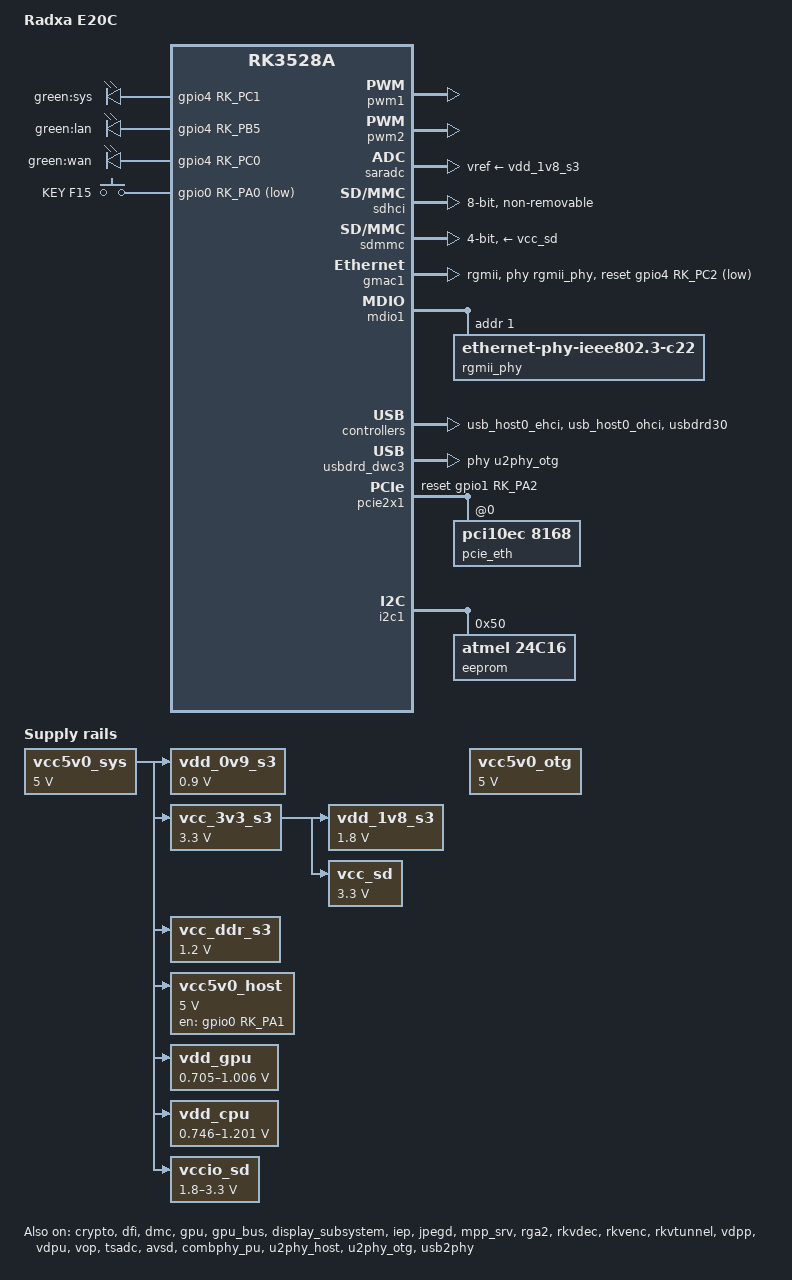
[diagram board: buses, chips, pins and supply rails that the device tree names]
// SPDX-License-Identifier: (GPL-2.0+ OR MIT)
/*
 * Copyright (c) 2022 Rockchip Electronics Co., Ltd.
 * Copyright (c) 2024 Radxa Limited
 *
 */

/dts-v1/;

#include <dt-bindings/gpio/gpio.h>
#include <dt-bindings/input/rk-input.h>
#include <dt-bindings/pinctrl/rockchip.h>
#include "rk3528.dtsi"
#include "rk3528-linux.dtsi"

/ {
	model = "Radxa E20C";
	compatible = "radxa,e20c", "rockchip,rk3528a";

	aliases {
		/delete-property/ ethernet1;
		mmc0 = <&sdmmc>;
		mmc1 = <&sdhci>;
		mmc2 = <&sdio0>;
		ethernet0 = <&gmac1>;
	};

	/delete-node/ chosen;

	gpio_leds: gpio-leds {
		compatible = "gpio-leds";

		led_green_sys: led-green-sys {
			gpios = <&gpio4 RK_PC1 GPIO_ACTIVE_HIGH>;
			label = "green:sys";
			linux,default-trigger = "heartbeat";
			pinctrl-0 = <&led_green_sys_en>;
			pinctrl-names = "default";
		};

		led_green_lan: led-green-lan {
			gpios = <&gpio4 RK_PB5 GPIO_ACTIVE_HIGH>;
			label = "green:lan";
			pinctrl-0 = <&led_green_lan_en>;
			pinctrl-names = "default";
		};

		led_green_wan: led-green-wan {
			gpios = <&gpio4 RK_PC0 GPIO_ACTIVE_HIGH>;
			label = "green:wan";
			pinctrl-0 = <&led_green_wan_en>;
			pinctrl-names = "default";
		};
	};

	vcc5v0_sys: vcc5v0-sys {
		compatible = "regulator-fixed";
		regulator-name = "vcc5v0_sys";
		regulator-always-on;
		regulator-boot-on;
		regulator-min-microvolt = <5000000>;
		regulator-max-microvolt = <5000000>;
	};

	vdd_0v9_s3: vdd-0v9-s3 {
		compatible = "regulator-fixed";
		regulator-name = "vdd_0v9_s3";
		regulator-always-on;
		regulator-boot-on;
		regulator-min-microvolt = <900000>;
		regulator-max-microvolt = <900000>;
		vin-supply = <&vcc5v0_sys>;
	};

	vcc_3v3_s3: vcc-3v3-s3 {
		compatible = "regulator-fixed";
		regulator-name = "vcc_3v3_s3";
		regulator-always-on;
		regulator-boot-on;
		regulator-min-microvolt = <3300000>;
		regulator-max-microvolt = <3300000>;
		vin-supply = <&vcc5v0_sys>;
	};

	vdd_1v8_s3: vdd-1v8-s3 {
		compatible = "regulator-fixed";
		regulator-name = "vdd_1v8_s3";
		regulator-always-on;
		regulator-boot-on;
		regulator-min-microvolt = <1800000>;
		regulator-max-microvolt = <1800000>;
		vin-supply = <&vcc_3v3_s3>;
	};

	vcc_ddr_s3: vcc-ddr-s3 {
		compatible = "regulator-fixed";
		regulator-name = "vcc_ddr_s3";
		regulator-always-on;
		regulator-boot-on;
		regulator-min-microvolt = <1200000>;
		regulator-max-microvolt = <1200000>;
		vin-supply = <&vcc5v0_sys>;
	};

	vcc5v0_host: vcc5v0-host-regulator {
		compatible = "regulator-fixed";
		regulator-name = "vcc5v0_host";
		regulator-boot-on;
		regulator-always-on;
		regulator-min-microvolt = <5000000>;
		regulator-max-microvolt = <5000000>;
		enable-active-high;
		gpio = <&gpio0 RK_PA1 GPIO_ACTIVE_HIGH>;
		vin-supply = <&vcc5v0_sys>;
		pinctrl-names = "default";
		pinctrl-0 = <&vcc5v0_host_en>;
	};

	vcc5v0_otg: vcc5v0-otg-regulator {
		compatible = "regulator-fixed";
		regulator-name = "vcc5v0_otg";
		regulator-min-microvolt = <5000000>;
		regulator-max-microvolt = <5000000>;
	};

	vdd_gpu: vdd_logic: vdd-logic {
		compatible = "pwm-regulator";
		pwms = <&pwm2 0 5000 1>;
		regulator-name = "vdd_logic";
		regulator-min-microvolt = <705000>;
		regulator-max-microvolt = <1006000>;
		regulator-init-microvolt = <900000>;
		regulator-always-on;
		regulator-boot-on;
		regulator-settling-time-up-us = <250>;
		regulator-enable-ramp-delay = <400>;
		regulator-ramp-delay = <12500>;
		pwm-supply = <&vcc5v0_sys>;
		status = "okay";
	};

	vdd_cpu: vdd-cpu {
		compatible = "pwm-regulator";
		pwms = <&pwm1 0 5000 1>;
		regulator-name = "vdd_cpu";
		regulator-min-microvolt = <746000>;
		regulator-max-microvolt = <1201000>;
		regulator-init-microvolt = <953000>;
		regulator-always-on;
		regulator-boot-on;
		regulator-settling-time-up-us = <250>;
		regulator-enable-ramp-delay = <400>;
		regulator-ramp-delay = <12500>;
		pwm-supply = <&vcc5v0_sys>;
		status = "okay";
	};

	vccio_sd: vccio-sd {
		compatible = "regulator-gpio";
		regulator-name = "vccio_sd";
		regulator-min-microvolt = <1800000>;
		regulator-max-microvolt = <3300000>;
		gpios = <&gpio4 RK_PB6 GPIO_ACTIVE_HIGH>;
		vin-supply = <&vcc5v0_sys>;
		states = <1800000 0x0
			  3300000 0x1>;
	};

	vcc_sd: vcc-sd {
		compatible = "regulator-fixed";
		//gpio = <&gpio4 RK_PA1 GPIO_ACTIVE_LOW>;
		regulator-name = "vcc_sd";
		regulator-min-microvolt = <3300000>;
		regulator-max-microvolt = <3300000>;
		vin-supply = <&vcc_3v3_s3>;
	};

	gpio-keys {
		compatible = "gpio-keys";
		pinctrl-names = "default";
		pinctrl-0 = <&user_key>;
		autorepeat;

		user-key {
			label = "KEY F15";
			linux,code = <KEY_F15>;
			gpios = <&gpio0 RK_PA0 GPIO_ACTIVE_LOW>;
			debounce-interval = <100>;
		};
	};
};

&pwm1 {
	status = "okay";
};

&pwm2 {
	status = "okay";
};

&cpu0 {
	cpu-supply = <&vdd_cpu>;
};

&cpu0_opp_table {
	opp-408000000 {
		opp-microvolt-L0 = <905000 905000 1200000>;
		opp-microvolt-L1 = <895000 895000 1200000>;
		opp-microvolt-L2 = <885000 885000 1200000>;
		opp-microvolt-L3 = <875000 875000 1200000>;
		opp-microvolt-L4 = <865000 865000 1200000>;
		opp-microvolt-L5 = <855000 855000 1200000>;
		opp-microvolt = <850000 850000 1200000>;
		status = "disabled";
	};

	opp-600000000 {
		opp-microvolt-L0 = <905000 905000 1200000>;
		opp-microvolt-L1 = <895000 895000 1200000>;
		opp-microvolt-L2 = <885000 885000 1200000>;
		opp-microvolt-L3 = <875000 875000 1200000>;
		opp-microvolt-L4 = <865000 865000 1200000>;
		opp-microvolt-L5 = <855000 855000 1200000>;
		opp-microvolt = <850000 850000 1200000>;
		status = "disabled";
	};

	opp-816000000 {
		opp-microvolt-L0 = <905000 905000 1200000>;
		opp-microvolt-L1 = <895000 895000 1200000>;
		opp-microvolt-L2 = <885000 885000 1200000>;
		opp-microvolt-L3 = <875000 875000 1200000>;
		opp-microvolt-L4 = <865000 865000 1200000>;
		opp-microvolt-L5 = <855000 855000 1200000>;
		opp-microvolt = <850000 850000 1200000>;
		status = "disabled";
	};

	opp-1008000000 {
		opp-microvolt-L0 = <905000 905000 1200000>;
		opp-microvolt-L1 = <895000 895000 1200000>;
		opp-microvolt-L2 = <885000 885000 1200000>;
		opp-microvolt-L3 = <875000 875000 1200000>;
		opp-microvolt-L4 = <865000 865000 1200000>;
		opp-microvolt-L5 = <855000 855000 1200000>;
		opp-microvolt = <850000 850000 1200000>;
	};

	opp-1200000000 {
		opp-microvolt-L0 = <935000 935000 1200000>;
		opp-microvolt-L1 = <922500 922500 1200000>;
		opp-microvolt-L2 = <910000 910000 1200000>;
		opp-microvolt-L3 = <897500 897500 1200000>;
		opp-microvolt-L4 = <885000 885000 1200000>;
		opp-microvolt-L5 = <872500 872500 1200000>;
		opp-microvolt-L6 = <860000 860000 1200000>;
		opp-microvolt = <850000 850000 1200000>;
	};

	opp-1416000000 {
		opp-microvolt-L0 = <1002500 1002500 1200000>;
		opp-microvolt-L1 = <990000 990000 1200000>;
		opp-microvolt-L2 = <977500 977500 1200000>;
		opp-microvolt-L3 = <965000 965000 1200000>;
		opp-microvolt-L4 = <952500 952500 1200000>;
		opp-microvolt-L5 = <940000 940000 1200000>;
		opp-microvolt-L6 = <927500 927500 1200000>;
		opp-microvolt-L7 = <915000 915000 1200000>;
		opp-microvolt-L8 = <902500 902500 1200000>;
		opp-microvolt-L9 = <890000 890000 1200000>;
		opp-microvolt-L10 = <877500 877500 1200000>;
		opp-microvolt-L11 = <865000 865000 1200000>;
		opp-microvolt = <865000 865000 1200000>;
	};

	opp-1608000000 {
		opp-microvolt-L0 = <1072500 1072500 1200000>;
		opp-microvolt-L1 = <1060000 1060000 1200000>;
		opp-microvolt-L2 = <1047500 1047500 1200000>;
		opp-microvolt-L3 = <1035000 1035000 1200000>;
		opp-microvolt-L4 = <1022500 1022500 1200000>;
		opp-microvolt-L5 = <1010000 1010000 1200000>;
		opp-microvolt-L6 = <997500 997500 1200000>;
		opp-microvolt-L7 = <985000 985000 1200000>;
		opp-microvolt-L8 = <972500 972500 1200000>;
		opp-microvolt-L9 = <960000 960000 1200000>;
		opp-microvolt-L10 = <947500 947500 1200000>;
		opp-microvolt-L11 = <935000 935000 1200000>;
		opp-microvolt = <935000 935000 1200000>;
	};

	opp-1800000000 {
		opp-microvolt-L0 = <1142500 1142500 1200000>;
		opp-microvolt-L1 = <1130000 1130000 1200000>;
		opp-microvolt-L2 = <1117500 1117500 1200000>;
		opp-microvolt-L3 = <1105000 1105000 1200000>;
		opp-microvolt-L4 = <1092500 1092500 1200000>;
		opp-microvolt-L5 = <1080000 1080000 1200000>;
		opp-microvolt-L6 = <1067500 1067500 1200000>;
		opp-microvolt-L7 = <1055000 1055000 1200000>;
		opp-microvolt-L8 = <1042500 1042500 1200000>;
		opp-microvolt-L9 = <1030000 1030000 1200000>;
		opp-microvolt-L10 = <1017500 1017500 1200000>;
		opp-microvolt-L11 = <1005000 1005000 1200000>;
		opp-microvolt = <1005000 1005000 1200000>;
	};

	opp-2016000000 {
		opp-microvolt-L0 = <1200000 1200000 1200000>;
		opp-microvolt-L1 = <1190000 1190000 1200000>;
		opp-microvolt-L2 = <1180000 1180000 1200000>;
		opp-microvolt-L3 = <1170000 1170000 1200000>;
		opp-microvolt-L4 = <1160000 1160000 1200000>;
		opp-microvolt-L5 = <1150000 1150000 1200000>;
		opp-microvolt-L6 = <1140000 1140000 1200000>;
		opp-microvolt-L7 = <1130000 1130000 1200000>;
		opp-microvolt-L8 = <1120000 1120000 1200000>;
		opp-microvolt-L9 = <1110000 1110000 1200000>;
		opp-microvolt-L10 = <1100000 1100000 1200000>;
		opp-microvolt-L11 = <1090000 1090000 1200000>;
		opp-microvolt = <1090000 1090000 1200000>;
	};
};

&crypto {
	status = "okay";
};

&dfi {
	status = "okay";
};

&dmc {
	center-supply = <&vdd_logic>;
	status = "okay";
};

&gpu {
	mali-supply = <&vdd_gpu>;
	status = "okay";
};

&gpu_bus {
	bus-supply = <&vdd_logic>;
	status = "okay";
};

&display_subsystem {
	status = "okay";
};

&iep {
	status = "okay";
};

&iep_mmu {
	status = "okay";
};

&jpegd {
	status = "okay";
};

&jpegd_mmu {
	status = "okay";
};

&mpp_srv {
	status = "okay";
};

&rga2 {
	status = "okay";
};

&rga2_mmu {
	status = "okay";
};

&rkvdec {
	status = "okay";
};

&rkvdec_mmu {
	status = "okay";
};

&rkvenc {
	status = "okay";
};

&rkvenc_mmu {
	status = "okay";
};

&rkvtunnel {
	status = "okay";
};

&rockchip_suspend {
	status = "okay";
	rockchip,sleep-debug-en = <1>;
	rockchip,virtual-poweroff = <1>;
	rockchip,sleep-mode-config = <
		(0
		| RKPM_SLP_ARMPD
		)
	>;
	rockchip,wakeup-config = <
		(0
		| RKPM_CPU0_WKUP_EN
		| RKPM_GPIO_WKUP_EN
		)
	>;
	rockchip,pwm-regulator-config = <
		(0
		| RKPM_PWM0_M0_REGULATOR_EN
		| RKPM_PWM1_M0_REGULATOR_EN
		)
	>;
};

&vdpp {
	status = "okay";
};

&vdpu {
	status = "okay";
};

&vdpu_mmu {
	status = "okay";
};

&vop {
	status = "okay";
};

&vop_mmu {
	status = "okay";
};

&tsadc {
	status = "okay";
};

&saradc {
	status = "okay";
	vref-supply = <&vdd_1v8_s3>;
};

&avsd {
	status = "okay";
};

&sdhci {
	bus-width = <8>;
	no-sd;
	no-sdio;
	non-removable;
	mmc-hs400-1_8v;
	mmc-hs400-enhanced-strobe;
	max-frequency = <200000000>;
	status = "okay";
};

&sdmmc {
	bus-width = <4>;
	cap-mmc-highspeed;
	cap-sd-highspeed;
	disable-wp;
	max-frequency = <150000000>;
	pinctrl-names = "default";
	pinctrl-0 = <&sdmmc_clk &sdmmc_cmd &sdmmc_det &sdmmc_bus4>;
	rockchip,default-sample-phase = <90>;
	supports-sd;
	sd-uhs-sdr12;
	sd-uhs-sdr25;
	sd-uhs-sdr50;
	sd-uhs-sdr104;
	vqmmc-supply = <&vccio_sd>;
	vmmc-supply = <&vcc_sd>;
	status = "okay";
};

&gmac1 {
	phy-mode = "rgmii";
	clock_in_out = "output";

	snps,reset-gpio = <&gpio4 RK_PC2 GPIO_ACTIVE_LOW>;
	snps,reset-active-low;
	/* Reset time is 20ms, 100ms for rtl8211f */
	snps,reset-delays-us = <0 20000 100000>;

	tx_delay = <0x2e>;
	rx_delay = <0x16>;

	pinctrl-names = "default";
	pinctrl-0 = <&rgmii_miim
		     &rgmii_tx_bus2
		     &rgmii_rx_bus2
		     &rgmii_rgmii_clk
		     &rgmii_rgmii_bus
		     &eth_pins>;

	phy-handle = <&rgmii_phy>;
	status = "okay";
};

&mdio1 {
	rgmii_phy: phy@1 {
		compatible = "ethernet-phy-ieee802.3-c22";
		reg = <0x1>;
	};
};

&combphy_pu {
	status = "okay";
};

&u2phy_host {
	phy-supply = <&vcc5v0_host>;
	status = "okay";
};

&u2phy_otg {
	vbus-supply = <&vcc5v0_otg>;
	status = "okay";
};

&usb2phy {
	status = "okay";
};

&usb_host0_ehci {
	status = "okay";
};

&usb_host0_ohci {
	status = "okay";
};

&usbdrd30 {
	status = "okay";
};

&usbdrd_dwc3 {
	extcon = <&usb2phy>;
	phys = <&u2phy_otg>;
	phy-names = "usb2-phy";
	maximum-speed = "high-speed";
	snps,dis_u2_susphy_quirk;
	snps,usb2-lpm-disable;
	status = "okay";
};

&pcie2x1 {
	reset-gpios = <&gpio1 RK_PA2 GPIO_ACTIVE_HIGH>;
	status = "okay";

	pcie@0,0 {
		reg = <0x000000 0 0 0 0>;
		#address-cells = <3>;
		#size-cells = <2>;

		pcie_eth: pcie-eth@10,0 {
			compatible = "pci10ec,8168";
			reg = <0x000000 0 0 0 0>;
			realtek,led-data = <0x78>;
		};
	};
};

&i2c0 {
	status = "disabled";
	pinctrl-names = "default";
	pinctrl-0 = <&i2c0m1_xfer>;

	hym8563: hym8563@51 {
		compatible = "haoyu,hym8563";
		reg = <0x51>;
		#clock-cells = <0>;
		clock-frequency = <32768>;
		clock-output-names = "hym8563";
		pinctrl-names = "default";
		pinctrl-0 = <&hym8563_int>;
		interrupt-parent = <&gpio4>;
		interrupts = <RK_PA7 IRQ_TYPE_LEVEL_LOW>;
		wakeup-source;
	};
};

&i2c0m1_xfer {
	rockchip,pins =
			/* i2c0_scl_m1 */
			<4 RK_PA1 2 &pcfg_pull_up>,
			/* i2c0_sda_m1 */
			<4 RK_PA0 2 &pcfg_pull_up>;
};

&i2c1 {
	status = "okay";
	pinctrl-names = "default";
	pinctrl-0 = <&i2c1m0_xfer>;

	eeprom:	bl24c16@50 {
		status = "okay";
		compatible = "atmel,24c16";
		reg = <0x50>;
		pagesize = <16>;
	};
};

&pinctrl {
	leds {
		led_green_sys_en: led-green-sys-en {
			rockchip,pins = <4 RK_PC1 RK_FUNC_GPIO &pcfg_pull_none>;
		};

		led_green_lan_en: led-green-lan-en {
			rockchip,pins = <4 RK_PB5 RK_FUNC_GPIO &pcfg_pull_none>;
		};

		led_green_wan_en: led-green-wan-en {
			rockchip,pins = <4 RK_PC0 RK_FUNC_GPIO &pcfg_pull_none>;
		};
	};

	usb {
		vcc5v0_host_en: vcc5v0-host-en {
			rockchip,pins = <0 RK_PA1 RK_FUNC_GPIO &pcfg_pull_none>;
		};
	};

	hym8563 {
		hym8563_int: hym8563-int {
			rockchip,pins = <4 RK_PA7 RK_FUNC_GPIO &pcfg_pull_none>;
		};
	};

	keys {
		user_key: user-key {
			rockchip,pins = <0 RK_PA0 RK_FUNC_GPIO &pcfg_pull_up>;
		};
	};
};
